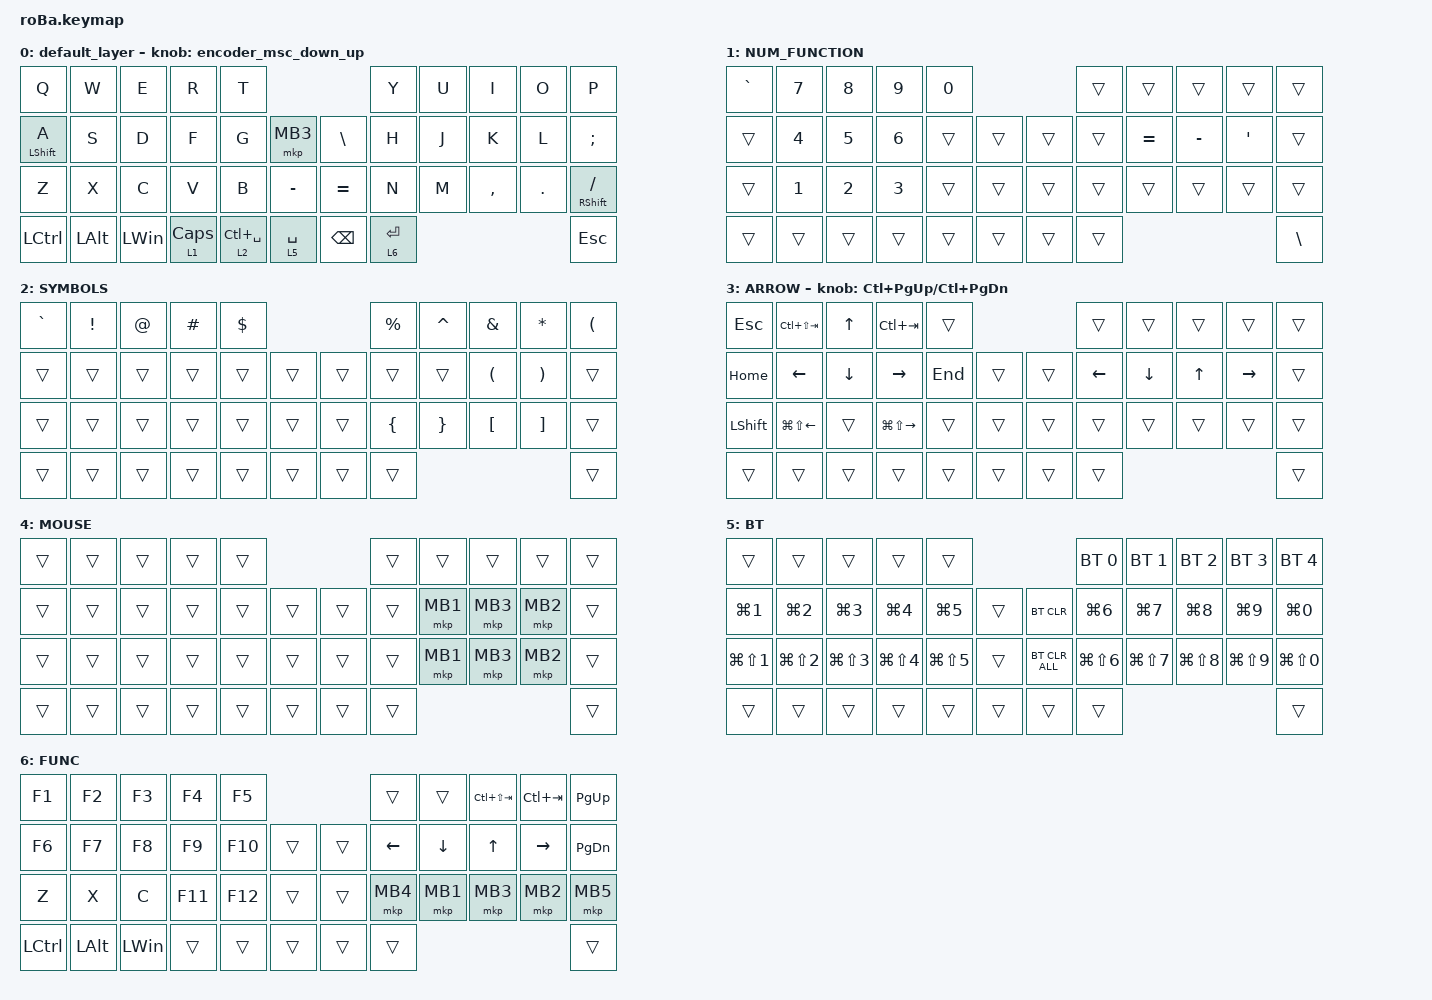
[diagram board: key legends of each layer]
#include <behaviors.dtsi>
#include <dt-bindings/zmk/bt.h>
#include <dt-bindings/zmk/keys.h>
#include <dt-bindings/zmk/pointing.h>

#define ZMK_POINTING_DEFAULT_SCRL_VAL 80

&mt {
    flavor = "balanced";
    quick-tap-ms = <0>;
};

&trackball {
    automouse-layer = <4>;
    scroll-layers = <5>;

    // arrows {
    //     layers = <3>;
    //     bindings =
    //         <&kp RIGHT_ARROW>,
    //         <&kp LEFT_ARROW>,
    //         <&kp UP_ARROW>,
    //         <&kp DOWN_ARROW>;
    //     tick = <10>;
    //     wait-ms = <5>;
    //     tap-ms = <5>;
    // };
};

/ {
    combos {
        compatible = "zmk,combos";

        tab {
            bindings = <&kp TAB>;
            key-positions = <13 12>;
        };

        shift_tab {
            bindings = <&kp LS(TAB)>;
            key-positions = <11 12>;
        };

        backquote {
            bindings = <&kp GRAVE>;
            key-positions = <0 1>;
        };

        quote {
            bindings = <&kp SINGLE_QUOTE>;
            key-positions = <20 21>;
        };
    };

    macros {
        to_layer_0: to_layer_0 {
            compatible = "zmk,behavior-macro-one-param";
            #binding-cells = <1>;
            bindings = <&to 1 &macro_param_1to1 &kp MACRO_PLACEHOLDER>;
            label = "TO_LAYER_0";
        };
    };

    behaviors {
        lt_to_layer_0: lt_to_layer_0 {
            compatible = "zmk,behavior-hold-tap";
            label = "LAYER_TAP_TO_0";
            bindings = <&mo>, <&to_layer_0>;

            #binding-cells = <2>;
            tapping-term-ms = <200>;
        };

        encoder_msc_down_up: encoder_msc_down_up {
            compatible = "zmk,behavior-sensor-rotate";
            label = "ENCODER_MSC_DOWN_UP";
            #sensor-binding-cells = <0>;
            bindings = <&msc SCRL_DOWN>, <&msc SCRL_UP>;

            tap-ms = <20>;
        };
    };

    keymap {
        compatible = "zmk,keymap";

        default_layer {
            bindings = <
&kp Q             &kp W         &kp E         &kp R       &kp T                                            &kp Y        &kp U  &kp I      &kp O    &kp P
&mt LEFT_SHIFT A  &kp S         &kp D         &kp F       &kp G            &mkp MB3         &kp BACKSLASH  &kp H        &kp J  &kp K      &kp L    &kp SEMICOLON
&kp Z             &kp X         &kp C         &kp V       &kp B            &kp MINUS        &kp EQUAL      &kp N        &kp M  &kp COMMA  &kp DOT  &mt RIGHT_SHIFT SLASH
&kp LCTRL         &kp LEFT_ALT  &kp LEFT_WIN  &lt 1 CAPS  &lt 2 LC(SPACE)  &lt 5 SPACE      &kp BACKSPACE  &lt 6 ENTER                             &kp ESC
            >;

            sensor-bindings = <&encoder_msc_down_up>;
        };

        NUM_FUNCTION {
            bindings = <
&kp GRAVE  &kp NUMBER_7  &kp NUMBER_8  &kp NUMBER_9  &kp NUMBER_0                      &trans  &trans     &trans     &trans            &trans
&trans     &kp NUMBER_4  &kp NUMBER_5  &kp NUMBER_6  &trans        &trans      &trans  &trans  &kp EQUAL  &kp MINUS  &kp SINGLE_QUOTE  &trans
&trans     &kp NUMBER_1  &kp NUMBER_2  &kp NUMBER_3  &trans        &trans      &trans  &trans  &trans     &trans     &trans            &trans
&trans     &trans        &trans        &trans        &trans        &trans      &trans  &trans                                          &kp BACKSLASH
            >;
        };

        SYMBOLS {
            bindings = <
&kp GRAVE  &kp EXCLAMATION  &kp AT_SIGN  &kp HASH  &kp DOLLAR                      &kp PERCENT     &kp CARET        &kp AMPERSAND         &kp ASTERISK           &kp LEFT_PARENTHESIS
&trans     &trans           &trans       &trans    &trans      &trans      &trans  &trans          &trans           &kp LEFT_PARENTHESIS  &kp RIGHT_PARENTHESIS  &trans
&trans     &trans           &trans       &trans    &trans      &trans      &trans  &kp LEFT_BRACE  &kp RIGHT_BRACE  &kp LEFT_BRACKET      &kp RIGHT_BRACKET      &trans
&trans     &trans           &trans       &trans    &trans      &trans      &trans  &trans                                                                        &trans
            >;
        };

        ARROW {
            bindings = <
&kp ESCAPE      &kp LC(LS(TAB))         &kp UP_ARROW    &kp LC(TAB)              &trans                       &trans    &trans          &trans        &trans           &trans
&kp HOME        &kp LEFT_ARROW          &kp DOWN_ARROW  &kp RIGHT_ARROW          &kp END  &trans      &trans  &kp LEFT  &kp DOWN_ARROW  &kp UP_ARROW  &kp RIGHT_ARROW  &trans
&kp LEFT_SHIFT  &kp LG(LS(LEFT_ARROW))  &trans          &kp LG(LS(RIGHT_ARROW))  &trans   &trans      &trans  &trans    &trans          &trans        &trans           &trans
&trans          &trans                  &trans          &trans                   &trans   &trans      &trans  &trans                                                   &trans
            >;

            sensor-bindings = <&inc_dec_kp LC(PAGE_UP) LC(PAGE_DOWN)>;
        };

        MOUSE {
            bindings = <
&trans  &trans  &trans  &trans  &trans                      &trans  &trans    &trans    &trans    &trans
&trans  &trans  &trans  &trans  &trans  &trans      &trans  &trans  &mkp MB1  &mkp MB3  &mkp MB2  &trans
&trans  &trans  &trans  &trans  &trans  &trans      &trans  &trans  &mkp MB1  &mkp MB3  &mkp MB2  &trans
&trans  &trans  &trans  &trans  &trans  &trans      &trans  &trans                                &trans
            >;
        };

        BT {
            bindings = <
&trans                &trans                &trans                &trans                &trans                                      &bt BT_SEL 0          &bt BT_SEL 1    &bt BT_SEL 2    &bt BT_SEL 3    &bt BT_SEL 4
&kp LG(NUMBER_1)      &kp LG(NUMBER_2)      &kp LG(NUMBER_3)      &kp LG(NUMBER_4)      &kp LG(N5)      &trans      &bt BT_CLR      &kp LG(NUMBER_6)      &kp LG(N7)      &kp LG(N8)      &kp LG(N9)      &kp LG(N0)
&kp LG(LS(NUMBER_1))  &kp LG(LS(NUMBER_2))  &kp LG(LS(NUMBER_3))  &kp LG(LS(NUMBER_4))  &kp LG(LS(N5))  &trans      &bt BT_CLR_ALL  &kp LG(LS(NUMBER_6))  &kp LG(LS(N7))  &kp LG(LS(N8))  &kp LG(LS(N9))  &kp LG(LS(N0))
&trans                &trans                &trans                &trans                &trans          &trans      &trans          &trans                                                                &trans
            >;
        };

        FUNC {
            bindings = <
&kp F1     &kp F2        &kp F3        &kp F4   &kp F5                       &trans    &trans          &kp LC(LS(TAB))  &kp LC(TAB)  &kp PAGE_UP
&kp F6     &kp F7        &kp F8        &kp F9   &kp F10  &trans      &trans  &kp LEFT  &kp DOWN_ARROW  &kp UP           &kp RIGHT    &kp PAGE_DOWN
&kp Z      &kp X         &kp C         &kp F11  &kp F12  &trans      &trans  &mkp MB4  &mkp MB1        &mkp MB3         &mkp MB2     &mkp MB5
&kp LCTRL  &kp LEFT_ALT  &kp LEFT_WIN  &trans   &trans   &trans      &trans  &trans                                                  &trans
            >;
        };
    };
};
